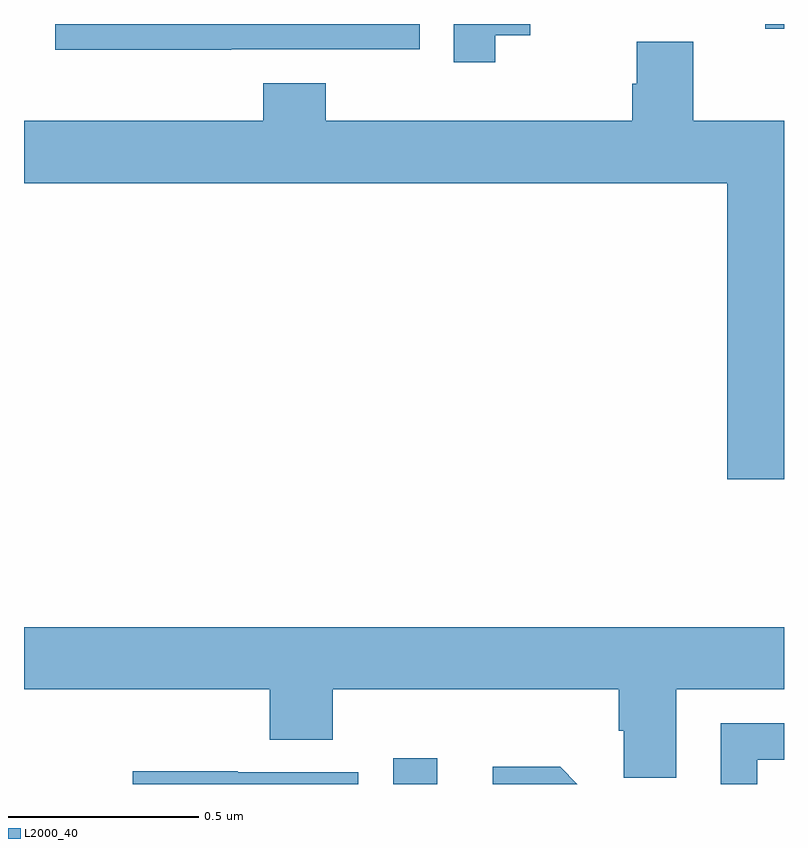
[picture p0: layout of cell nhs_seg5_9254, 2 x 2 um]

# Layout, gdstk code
import gdstk
lib = gdstk.Library(unit=1e-6, precision=1e-09)
def R(c, l, rs):  # rectangles x0, y0, x1, y1
    for r in rs: c.add(gdstk.rectangle(r[:2], r[2:], *l))
def P(c, l, *ps):  # polygons
    for p in ps: c.add(gdstk.Polygon(p, *l))
L2000_40 = (2000, 40)

nhs_seg5_9254 = lib.new_cell('nhs_seg5_9254')
R(nhs_seg5_9254, L2000_40, [(231.972,901.799,232.087,901.867), (232.951,903.786,233,903.799)])
P(nhs_seg5_9254, L2000_40, [(231.545,903.732),(232.041,903.732),(232.041,903.799),(231.082,903.799),(231.082,903.731),(231.545,903.731)],
  [(232.24,903.769),(232.332,903.769),(232.332,903.799),(232.131,903.799),(232.131,903.699),(232.24,903.699)],
  [(233,903.544),(232.761,903.544),(232.761,903.752),(232.613,903.752),(232.613,903.642),(232.601,903.642),(232.601,903.544),(231.794,903.544),(231.794,903.643),(231.629,903.643),(231.629,903.544),(231,903.544),(231,903.38),(232.85,903.38),(232.85,902.601),(233,902.601)],
  [(232.717,902.048),(233,902.048),(233,902.212),(231,902.212),(231,902.048),(231.647,902.048),(231.647,901.915),(231.812,901.915),(231.812,902.048),(232.565,902.048),(232.565,901.939),(232.578,901.939),(232.578,901.816),(232.717,901.816)],
  [(232.929,901.863),(233,901.863),(233,901.959),(232.833,901.959),(232.833,901.799),(232.929,901.799)],
  [(232.411,901.844),(232.233,901.844),(232.233,901.799),(232.456,901.799)],
  [(231.879,901.83),(231.563,901.83),(231.563,901.832),(231.286,901.832),(231.286,901.799),(231.879,901.799)])

lib.write_gds('nhs_seg5_9254.gds')
